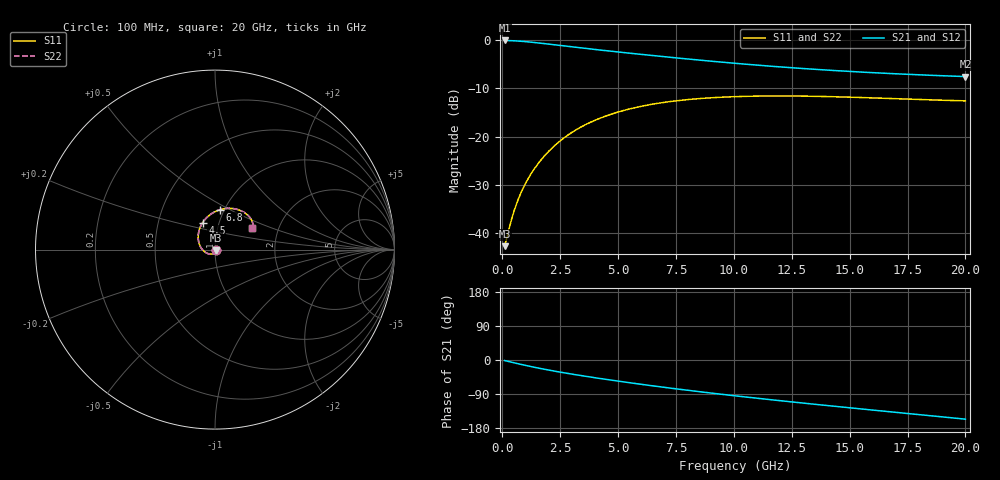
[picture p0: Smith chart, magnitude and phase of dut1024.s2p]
! Touchstone file exported from HFSS 2024.1.0
!  File:  C:/UserFiles/LocalFiles/RDL_TSV_Batchsim/temp_RDL_TSV_1024_1780082074.aedt
!  Generated:  03:30:48 AM May 30, 2026
!  Design:  RDL_TSV
!  Project:  temp_RDL_TSV_1024_1780082074
!  Setup:  Setup1
!  Solution:  Sweep
! Variables:
!  dtsv = 8.65um
!  hbump = 3um
!  htsv = 89.1um
!  ldown = 416.98um
!  lrdl = 195.02um
!  p = 40
!  p1 = 53.67um
!  rhole = 10um
!  subl = 2031.02um
!  t = 450um
!  tdown = 4.49um
!  trdl = 4.64um
!  viad = 10um
!  wdown = 29.43um
!  wrdl = 29.77um
!  xbump = 18um
# GHz S MA R 50.000000
! Terminal data exported
! Port[1] = TM1_1_T1
! Port[2] = TM1_4_T1
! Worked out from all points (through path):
!   200 points, 100 MHz to 20 GHz, reference 50 ohm
!   highest |S21| = -0.06 dB at 100 MHz (marker M1); lowest = -7.5 dB at 20 GHz (marker M2)
!   group delay of S21, straight-line fit = 20.4 ps
!   lowest |S11| = -42.6 dB at 100 MHz (marker M3), VSWR 1.01, Z = 50.7 - j0.317 ohm
!   |S11| at or under -10 dB: start of sweep to end of sweep
!   |S22| runs from -42.6 to -11.5 dB; largest |S21 - S12| = 9.6e-15
!   S11 on the Smith chart (normalised r, x): 100 MHz: 1.01, -0.01; 4.5 GHz: 0.83, +0.26; 6.8 GHz: 0.95, +0.45; 20 GHz: 1.46, +0.36
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0.1  0.007376 -25.1  0.9927 -1.5  0.9927 -1.5  0.007376 -25.1
! Gamma 0 0 0 0
! Port Impedance 50 0 50 0
0.4  0.01398 -78.5  0.9873 -5.9  0.9873 -5.9  0.01398 -78.5
0.6  0.01977 -99.8  0.9816 -8.7  0.9816 -8.7  0.01977 -99.8
0.7  0.02287 -108.4  0.9781 -10.1  0.9781 -10.1  0.02287 -108.5
0.9  0.02937 -123.4  0.9701 -12.8  0.9701 -12.8  0.02938 -123.5
1.1  0.03625 -136.3  0.9607 -15.5  0.9607 -15.5  0.03627 -136.4
1.3  0.04347 -147.8  0.9504 -18.1  0.9504 -18.1  0.04349 -147.8
1.5  0.05096 -158.1  0.9393 -20.6  0.9393 -20.6  0.05099 -158.1
1.8  0.06261 -171.8  0.9219 -24.2  0.9219 -24.2  0.06266 -171.8
2.3  0.08266 168.9  0.8923 -29.9  0.8923 -29.9  0.08274 168.9
2.9  0.1068 150.2  0.858 -36.2  0.858 -36.2  0.1069 150.2
3.5  0.13 134.9  0.8258 -42.1  0.8258 -42.1  0.1301 134.9
4.5  0.1649 114.8  0.777 -51.3  0.777 -51.3  0.1652 114.8
5.6  0.1968 97.7  0.7287 -60.8  0.7287 -60.8  0.1971 97.7
6.8  0.2235 83.1  0.6811 -70.6  0.6811 -70.6  0.2239 83.1
8.4  0.2472 68.0  0.6251 -82.8  0.6251 -82.8  0.2477 68.0
10.1  0.2604 55.8  0.5746 -94.8  0.5746 -94.8  0.2609 55.9
11.7  0.2644 47.1  0.5351 -105.5  0.5351 -105.5  0.2649 47.1
13.4  0.2625 40.1  0.5008 -116.3  0.5008 -116.3  0.2631 40.1
15  0.257 35.3  0.4745 -126.1  0.4745 -126.1  0.2576 35.4
16.7  0.2492 32.0  0.4519 -136.4  0.4519 -136.4  0.2497 32.0
20  0.2354 30.1  0.4197 -156.1  0.4197 -156.1  0.2359 30.2
